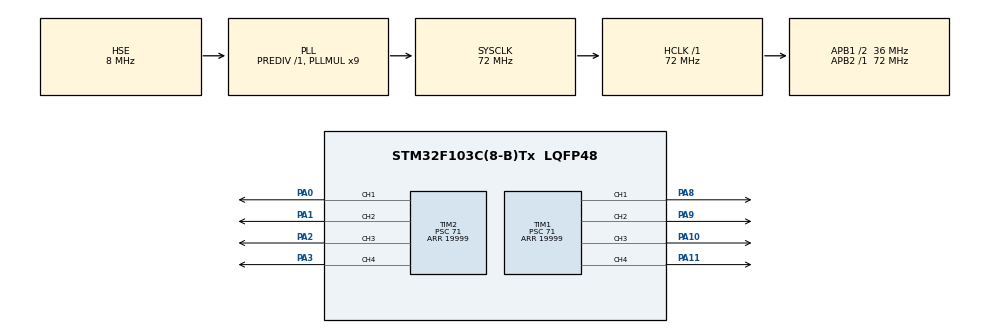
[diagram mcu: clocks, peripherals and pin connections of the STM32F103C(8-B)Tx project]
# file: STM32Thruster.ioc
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Mcu.Family=STM32F1
Mcu.Name=STM32F103C(8-B)Tx
Mcu.Package=LQFP48
NVIC.PriorityGroup=NVIC_PRIORITYGROUP_4
PA0-WKUP.Signal=S_TIM2_CH1_ETR
PA1.Signal=S_TIM2_CH2
PA10.Signal=S_TIM1_CH3
PA11.Signal=S_TIM1_CH4
PA13.Mode=Serial_Wire
PA13.Signal=SYS_JTMS-SWDIO
PA14.Mode=Serial_Wire
PA14.Signal=SYS_JTCK-SWCLK
PA2.Signal=S_TIM2_CH3
PA3.Signal=S_TIM2_CH4
PA8.Signal=S_TIM1_CH1
PA9.Signal=S_TIM1_CH2
PD0-OSC_IN.Mode=HSE-External-Oscillator
PD0-OSC_IN.Signal=RCC_OSC_IN
PD1-OSC_OUT.Mode=HSE-External-Oscillator
PD1-OSC_OUT.Signal=RCC_OSC_OUT
ProjectManager.HeapSize=0x200
ProjectManager.StackSize=0x400
ProjectManager.TargetToolchain=MDK-ARM V5.32
RCC.AHBFreq_Value=72000000
RCC.APB1CLKDivider=RCC_HCLK_DIV2
RCC.APB1Freq_Value=36000000
RCC.APB1TimFreq_Value=72000000
RCC.APB2Freq_Value=72000000
RCC.APB2TimFreq_Value=72000000
RCC.HCLKFreq_Value=72000000
RCC.PLLMUL=RCC_PLL_MUL9
RCC.PLLSourceVirtual=RCC_PLLSOURCE_HSE
RCC.SYSCLKFreq_VALUE=72000000
RCC.SYSCLKSource=RCC_SYSCLKSOURCE_PLLCLK
RCC.USBFreq_Value=72000000
SH.S_TIM1_CH1.0=TIM1_CH1,PWM Generation1 CH1
SH.S_TIM1_CH2.0=TIM1_CH2,PWM Generation2 CH2
SH.S_TIM1_CH3.0=TIM1_CH3,PWM Generation3 CH3
SH.S_TIM1_CH4.0=TIM1_CH4,PWM Generation4 CH4
SH.S_TIM2_CH1_ETR.0=TIM2_CH1,PWM Generation1 CH1
SH.S_TIM2_CH2.0=TIM2_CH2,PWM Generation2 CH2
SH.S_TIM2_CH3.0=TIM2_CH3,PWM Generation3 CH3
SH.S_TIM2_CH4.0=TIM2_CH4,PWM Generation4 CH4
TIM1.Channel-PWM\ Generation1\ CH1=TIM_CHANNEL_1
TIM1.Channel-PWM\ Generation2\ CH2=TIM_CHANNEL_2
TIM1.Channel-PWM\ Generation3\ CH3=TIM_CHANNEL_3
TIM1.Channel-PWM\ Generation4\ CH4=TIM_CHANNEL_4
TIM1.Period=19999
TIM1.Prescaler=71
TIM2.Channel-PWM\ Generation1\ CH1=TIM_CHANNEL_1
TIM2.Channel-PWM\ Generation2\ CH2=TIM_CHANNEL_2
TIM2.Channel-PWM\ Generation3\ CH3=TIM_CHANNEL_3
TIM2.Channel-PWM\ Generation4\ CH4=TIM_CHANNEL_4
TIM2.Period=19999
TIM2.Prescaler=71
VP_TIM1_VS_ClockSourceINT.Mode=Internal
VP_TIM2_VS_ClockSourceINT.Mode=Internal
board=custom

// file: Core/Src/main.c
/* USER CODE BEGIN Header */
/**
  ******************************************************************************
  * @file           : main.c
  * @brief          : Main program body
  ******************************************************************************
  * @attention
  *
  * Copyright (c) 2026 STMicroelectronics.
  * All rights reserved.
  *
  * This software is licensed under terms that can be found in the LICENSE file
  * in the root directory of this software component.
  * If no LICENSE file comes with this software, it is provided AS-IS.
  *
  ******************************************************************************
  */
/* USER CODE END Header */
#include "main.h"

TIM_HandleTypeDef htim1;
TIM_HandleTypeDef htim2;

void SystemClock_Config(void);
static void MX_GPIO_Init(void);
static void MX_TIM1_Init(void);
static void MX_TIM2_Init(void);

/* USER CODE BEGIN 0 */

void ThrusterControl(int channel, int pwm) {
	if (pwm < 1100) pwm = 1100;
	if (pwm > 1900) pwm = 1900;

	switch (channel) {
	case 1:
			__HAL_TIM_SET_COMPARE(&htim1, TIM_CHANNEL_1, pwm);
			  break;
	case 2:
			__HAL_TIM_SET_COMPARE(&htim1, TIM_CHANNEL_2, pwm);
			  break;
	case 3:
			__HAL_TIM_SET_COMPARE(&htim1, TIM_CHANNEL_3, pwm);
			  break;
	case 4:
			__HAL_TIM_SET_COMPARE(&htim1, TIM_CHANNEL_4, pwm);
			  break;
	case 5:
			__HAL_TIM_SET_COMPARE(&htim2, TIM_CHANNEL_4, pwm);
			  break;
	case 6:
			__HAL_TIM_SET_COMPARE(&htim2, TIM_CHANNEL_3, pwm);
			  break;
	case 7:
			__HAL_TIM_SET_COMPARE(&htim2, TIM_CHANNEL_2, pwm);
			  break;
	case 8:
			__HAL_TIM_SET_COMPARE(&htim2, TIM_CHANNEL_1, pwm);
			  break;
	}
}
/* USER CODE END 0 */

int main(void)
{

  /* MCU Configuration--------------------------------------------------------*/

  /* Reset of all peripherals, Initializes the Flash interface and the Systick. */
  HAL_Init();

  /* Configure the system clock */
  SystemClock_Config();

  /* Initialize all configured peripherals */
  MX_GPIO_Init();
  MX_TIM1_Init();
  MX_TIM2_Init();
  /* USER CODE BEGIN 2 */
  HAL_TIM_PWM_Start(&htim1, TIM_CHANNEL_1);
  HAL_TIM_PWM_Start(&htim1, TIM_CHANNEL_2);
  HAL_TIM_PWM_Start(&htim1, TIM_CHANNEL_3);
  HAL_TIM_PWM_Start(&htim1, TIM_CHANNEL_4);
  HAL_TIM_PWM_Start(&htim2, TIM_CHANNEL_1);
  HAL_TIM_PWM_Start(&htim2, TIM_CHANNEL_2);
  HAL_TIM_PWM_Start(&htim2, TIM_CHANNEL_3);
  HAL_TIM_PWM_Start(&htim2, TIM_CHANNEL_4);
  for (int ch = 1; ch <= 8; ch++)
  {
    ThrusterControl(ch, 1500);
  }
  /* USER CODE END 2 */

  /* Infinite loop */
  while (1)
  {
	  for (int ch = 1; ch <= 8; ch++)
	  {
		for (int pwm = 1500; pwm <= 1900; pwm+=100)
		{
			ThrusterControl(ch, pwm);
			HAL_Delay(20);
		}
		for (int pwm = 1500; pwm >= 1100; pwm-=100)
		{
			ThrusterControl(ch, pwm);
			HAL_Delay(20);
		}
		ThrusterControl(ch, 1500);
	  }
  }
}

void SystemClock_Config(void)
{
  RCC_OscInitTypeDef RCC_OscInitStruct = {0};
  RCC_ClkInitTypeDef RCC_ClkInitStruct = {0};

  /** Initializes the RCC Oscillators according to the specified parameters
  * in the RCC_OscInitTypeDef structure.
  */
  RCC_OscInitStruct.OscillatorType = RCC_OSCILLATORTYPE_HSE;
  RCC_OscInitStruct.HSEState = RCC_HSE_ON;
  RCC_OscInitStruct.HSEPredivValue = RCC_HSE_PREDIV_DIV1;
  RCC_OscInitStruct.HSIState = RCC_HSI_ON;
  RCC_OscInitStruct.PLL.PLLState = RCC_PLL_ON;
  RCC_OscInitStruct.PLL.PLLSource = RCC_PLLSOURCE_HSE;
  RCC_OscInitStruct.PLL.PLLMUL = RCC_PLL_MUL9;
  if (HAL_RCC_OscConfig(&RCC_OscInitStruct) != HAL_OK)
  {
    Error_Handler();
  }

  /** Initializes the CPU, AHB and APB buses clocks
  */
  RCC_ClkInitStruct.ClockType = RCC_CLOCKTYPE_HCLK|RCC_CLOCKTYPE_SYSCLK
                              |RCC_CLOCKTYPE_PCLK1|RCC_CLOCKTYPE_PCLK2;
  RCC_ClkInitStruct.SYSCLKSource = RCC_SYSCLKSOURCE_PLLCLK;
  RCC_ClkInitStruct.AHBCLKDivider = RCC_SYSCLK_DIV1;
  RCC_ClkInitStruct.APB1CLKDivider = RCC_HCLK_DIV2;
  RCC_ClkInitStruct.APB2CLKDivider = RCC_HCLK_DIV1;

  if (HAL_RCC_ClockConfig(&RCC_ClkInitStruct, FLASH_LATENCY_2) != HAL_OK)
  {
    Error_Handler();
  }
}

static void MX_TIM1_Init(void)
{

  TIM_ClockConfigTypeDef sClockSourceConfig = {0};
  TIM_MasterConfigTypeDef sMasterConfig = {0};
  TIM_OC_InitTypeDef sConfigOC = {0};
  TIM_BreakDeadTimeConfigTypeDef sBreakDeadTimeConfig = {0};

  htim1.Instance = TIM1;
  htim1.Init.Prescaler = 71;
  htim1.Init.CounterMode = TIM_COUNTERMODE_UP;
  htim1.Init.Period = 19999;
  htim1.Init.ClockDivision = TIM_CLOCKDIVISION_DIV1;
  htim1.Init.RepetitionCounter = 0;
  htim1.Init.AutoReloadPreload = TIM_AUTORELOAD_PRELOAD_DISABLE;
  if (HAL_TIM_Base_Init(&htim1) != HAL_OK)
  {
    Error_Handler();
  }
  sClockSourceConfig.ClockSource = TIM_CLOCKSOURCE_INTERNAL;
  if (HAL_TIM_ConfigClockSource(&htim1, &sClockSourceConfig) != HAL_OK)
  {
    Error_Handler();
  }
  if (HAL_TIM_PWM_Init(&htim1) != HAL_OK)
  {
    Error_Handler();
  }
  sMasterConfig.MasterOutputTrigger = TIM_TRGO_RESET;
  sMasterConfig.MasterSlaveMode = TIM_MASTERSLAVEMODE_DISABLE;
  if (HAL_TIMEx_MasterConfigSynchronization(&htim1, &sMasterConfig) != HAL_OK)
  {
    Error_Handler();
  }
  sConfigOC.OCMode = TIM_OCMODE_PWM1;
  sConfigOC.Pulse = 0;
  sConfigOC.OCPolarity = TIM_OCPOLARITY_HIGH;
  sConfigOC.OCNPolarity = TIM_OCNPOLARITY_HIGH;
  sConfigOC.OCFastMode = TIM_OCFAST_DISABLE;
  sConfigOC.OCIdleState = TIM_OCIDLESTATE_RESET;
  sConfigOC.OCNIdleState = TIM_OCNIDLESTATE_RESET;
  if (HAL_TIM_PWM_ConfigChannel(&htim1, &sConfigOC, TIM_CHANNEL_1) != HAL_OK)
  {
    Error_Handler();
  }
  if (HAL_TIM_PWM_ConfigChannel(&htim1, &sConfigOC, TIM_CHANNEL_2) != HAL_OK)
  {
    Error_Handler();
  }
  if (HAL_TIM_PWM_ConfigChannel(&htim1, &sConfigOC, TIM_CHANNEL_3) != HAL_OK)
  {
    Error_Handler();
  }
  if (HAL_TIM_PWM_ConfigChannel(&htim1, &sConfigOC, TIM_CHANNEL_4) != HAL_OK)
  {
    Error_Handler();
  }
  sBreakDeadTimeConfig.OffStateRunMode = TIM_OSSR_DISABLE;
  sBreakDeadTimeConfig.OffStateIDLEMode = TIM_OSSI_DISABLE;
  sBreakDeadTimeConfig.LockLevel = TIM_LOCKLEVEL_OFF;
  sBreakDeadTimeConfig.DeadTime = 0;
  sBreakDeadTimeConfig.BreakState = TIM_BREAK_DISABLE;
  sBreakDeadTimeConfig.BreakPolarity = TIM_BREAKPOLARITY_HIGH;
  sBreakDeadTimeConfig.AutomaticOutput = TIM_AUTOMATICOUTPUT_DISABLE;
  if (HAL_TIMEx_ConfigBreakDeadTime(&htim1, &sBreakDeadTimeConfig) != HAL_OK)
  {
    Error_Handler();
  }
  HAL_TIM_MspPostInit(&htim1);

}

static void MX_TIM2_Init(void)
{

  TIM_ClockConfigTypeDef sClockSourceConfig = {0};
  TIM_MasterConfigTypeDef sMasterConfig = {0};
  TIM_OC_InitTypeDef sConfigOC = {0};

  htim2.Instance = TIM2;
  htim2.Init.Prescaler = 71;
  htim2.Init.CounterMode = TIM_COUNTERMODE_UP;
  htim2.Init.Period = 19999;
  htim2.Init.ClockDivision = TIM_CLOCKDIVISION_DIV1;
  htim2.Init.AutoReloadPreload = TIM_AUTORELOAD_PRELOAD_DISABLE;
  if (HAL_TIM_Base_Init(&htim2) != HAL_OK)
  {
    Error_Handler();
  }
  sClockSourceConfig.ClockSource = TIM_CLOCKSOURCE_INTERNAL;
  if (HAL_TIM_ConfigClockSource(&htim2, &sClockSourceConfig) != HAL_OK)
  {
    Error_Handler();
  }
  if (HAL_TIM_PWM_Init(&htim2) != HAL_OK)
  {
    Error_Handler();
  }
  sMasterConfig.MasterOutputTrigger = TIM_TRGO_RESET;
  sMasterConfig.MasterSlaveMode = TIM_MASTERSLAVEMODE_DISABLE;
  if (HAL_TIMEx_MasterConfigSynchronization(&htim2, &sMasterConfig) != HAL_OK)
  {
    Error_Handler();
  }
  sConfigOC.OCMode = TIM_OCMODE_PWM1;
  sConfigOC.Pulse = 0;
  sConfigOC.OCPolarity = TIM_OCPOLARITY_HIGH;
  sConfigOC.OCFastMode = TIM_OCFAST_DISABLE;
  if (HAL_TIM_PWM_ConfigChannel(&htim2, &sConfigOC, TIM_CHANNEL_1) != HAL_OK)
  {
    Error_Handler();
  }
  if (HAL_TIM_PWM_ConfigChannel(&htim2, &sConfigOC, TIM_CHANNEL_2) != HAL_OK)
  {
    Error_Handler();
  }
  if (HAL_TIM_PWM_ConfigChannel(&htim2, &sConfigOC, TIM_CHANNEL_3) != HAL_OK)
  {
    Error_Handler();
  }
  if (HAL_TIM_PWM_ConfigChannel(&htim2, &sConfigOC, TIM_CHANNEL_4) != HAL_OK)
  {
    Error_Handler();
  }
  HAL_TIM_MspPostInit(&htim2);

}

static void MX_GPIO_Init(void)
{

  /* GPIO Ports Clock Enable */
  __HAL_RCC_GPIOD_CLK_ENABLE();
  __HAL_RCC_GPIOA_CLK_ENABLE();

}

void Error_Handler(void)
{
  __disable_irq();
  while (1)
  {
  }
}
